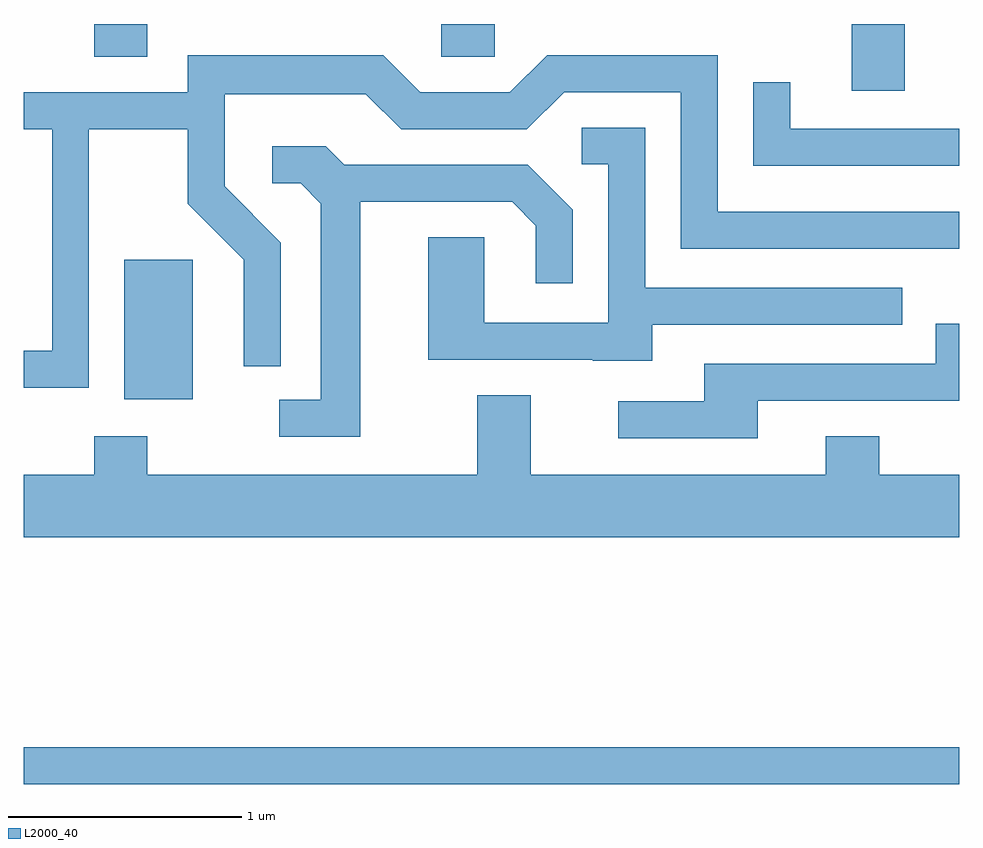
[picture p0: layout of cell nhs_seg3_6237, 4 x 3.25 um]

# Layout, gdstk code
import gdstk
lib = gdstk.Library(unit=1e-6, precision=1e-09)
def R(c, l, rs):  # rectangles x0, y0, x1, y1
    for r in rs: c.add(gdstk.rectangle(r[:2], r[2:], *l))
def P(c, l, *ps):  # polygons
    for p in ps: c.add(gdstk.Polygon(p, *l))
L2000_40 = (2000, 40)

nhs_seg3_6237 = lib.new_cell('nhs_seg3_6237')
R(nhs_seg3_6237, L2000_40, [(367.611,1222.641,371.611,1222.799), (368.041,1224.286,368.334,1224.884), (371.151,1225.606,371.379,1225.892), (367.911,1225.751,368.139,1225.892), (369.396,1225.751,369.624,1225.892)])
P(nhs_seg3_6237, L2000_40, [(367.889,1225.441),(368.311,1225.441),(368.311,1225.124),(368.551,1224.884),(368.551,1224.428),(368.709,1224.428),(368.709,1224.957),(368.469,1225.197),(368.469,1225.591),(369.074,1225.591),(369.224,1225.441),(369.762,1225.441),(369.922,1225.601),(370.421,1225.601),(370.421,1224.931),(371.611,1224.931),(371.611,1225.089),(370.579,1225.089),(370.579,1225.759),(369.849,1225.759),(369.689,1225.599),(369.307,1225.599),(369.147,1225.759),(368.311,1225.759),(368.311,1225.599),(367.611,1225.599),(367.611,1225.441),(367.731,1225.441),(367.731,1224.494),(367.611,1224.494),(367.611,1224.336),(367.889,1224.336)],
  [(371.611,1225.444),(370.889,1225.444),(370.889,1225.643),(370.731,1225.643),(370.731,1225.286),(371.611,1225.286)],
  [(370.299,1224.606),(371.368,1224.606),(371.368,1224.764),(370.269,1224.764),(370.269,1225.449),(369.998,1225.449),(369.998,1225.291),(370.111,1225.291),(370.111,1224.614),(369.579,1224.614),(369.579,1224.979),(369.341,1224.979),(369.341,1224.456),(370.045,1224.456),(370.045,1224.451),(370.299,1224.451)],
  [(369.049,1225.131),(369.699,1225.131),(369.801,1225.029),(369.801,1224.783),(369.959,1224.783),(369.959,1225.097),(369.767,1225.289),(368.982,1225.289),(368.902,1225.369),(368.673,1225.369),(368.673,1225.211),(368.794,1225.211),(368.881,1225.124),(368.881,1224.284),(368.703,1224.284),(368.703,1224.126),(369.049,1224.126)],
  [(370.749,1224.281),(371.611,1224.281),(371.611,1224.609),(371.511,1224.609),(371.511,1224.439),(370.521,1224.439),(370.521,1224.279),(370.153,1224.279),(370.153,1224.121),(370.749,1224.121)],
  [(371.611,1223.964),(371.269,1223.964),(371.269,1224.129),(371.041,1224.129),(371.041,1223.964),(369.779,1223.964),(369.779,1224.304),(369.551,1224.304),(369.551,1223.964),(368.139,1223.964),(368.139,1224.129),(367.911,1224.129),(367.911,1223.964),(367.611,1223.964),(367.611,1223.696),(371.611,1223.696)])

lib.write_gds('nhs_seg3_6237.gds')
